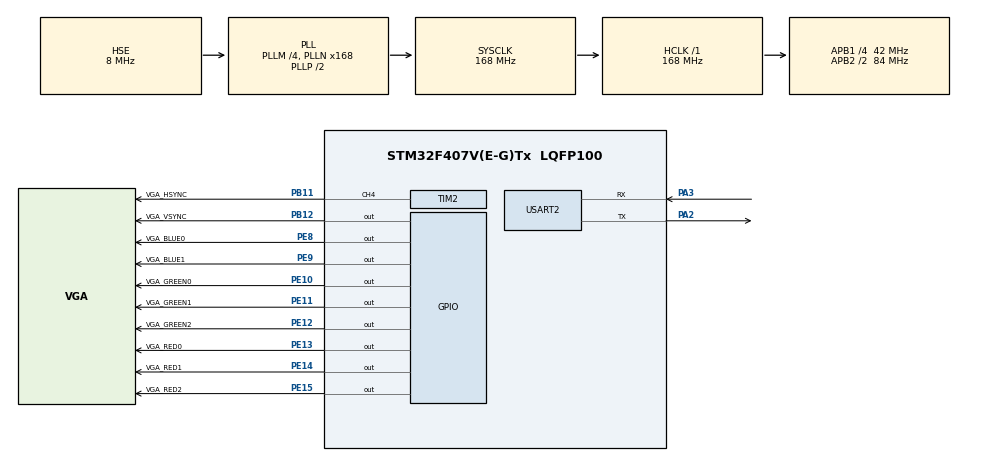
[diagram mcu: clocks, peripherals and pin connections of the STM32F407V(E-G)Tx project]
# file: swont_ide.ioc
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Dma.Request0=TIM1_UP
Dma.TIM1_UP.0.Direction=DMA_MEMORY_TO_PERIPH
Dma.TIM1_UP.0.FIFOMode=DMA_FIFOMODE_DISABLE
Dma.TIM1_UP.0.Instance=DMA2_Stream5
Dma.TIM1_UP.0.MemDataAlignment=DMA_MDATAALIGN_BYTE
Dma.TIM1_UP.0.MemInc=DMA_MINC_ENABLE
Dma.TIM1_UP.0.Mode=DMA_NORMAL
Dma.TIM1_UP.0.PeriphDataAlignment=DMA_PDATAALIGN_BYTE
Dma.TIM1_UP.0.PeriphInc=DMA_PINC_DISABLE
Dma.TIM1_UP.0.Priority=DMA_PRIORITY_VERY_HIGH
Mcu.Family=STM32F4
Mcu.Name=STM32F407V(E-G)Tx
Mcu.Package=LQFP100
NVIC.DMA2_Stream5_IRQn=true\:0\:0\:false\:false\:true\:false\:true
NVIC.PriorityGroup=NVIC_PRIORITYGROUP_4
NVIC.TIM2_IRQn=true\:0\:0\:true\:false\:true\:true\:true
NVIC.USART2_IRQn=true\:0\:0\:false\:false\:true\:true\:true
PA13.Mode=Serial_Wire
PA13.Signal=SYS_JTMS-SWDIO
PA14.Mode=Serial_Wire
PA14.Signal=SYS_JTCK-SWCLK
PA2.Mode=Asynchronous
PA2.Signal=USART2_TX
PA3.Mode=Asynchronous
PA3.Signal=USART2_RX
PB11.GPIO_Label=VGA_HSYNC
PB11.GPIO_Speed=GPIO_SPEED_FREQ_VERY_HIGH
PB11.Signal=S_TIM2_CH4
PB12.GPIO_Label=VGA_VSYNC
PB12.GPIO_PuPd=GPIO_NOPULL
PB12.GPIO_Speed=GPIO_SPEED_FREQ_VERY_HIGH
PB12.Signal=GPIO_Output
PE10.GPIO_Label=VGA_GREEN0
PE10.GPIO_PuPd=GPIO_NOPULL
PE10.GPIO_Speed=GPIO_SPEED_FREQ_VERY_HIGH
PE10.Signal=GPIO_Output
PE11.GPIO_Label=VGA_GREEN1
PE11.GPIO_PuPd=GPIO_NOPULL
PE11.GPIO_Speed=GPIO_SPEED_FREQ_VERY_HIGH
PE11.Signal=GPIO_Output
PE12.GPIO_Label=VGA_GREEN2
PE12.GPIO_PuPd=GPIO_NOPULL
PE12.GPIO_Speed=GPIO_SPEED_FREQ_VERY_HIGH
PE12.Signal=GPIO_Output
PE13.GPIO_Label=VGA_RED0
PE13.GPIO_PuPd=GPIO_NOPULL
PE13.GPIO_Speed=GPIO_SPEED_FREQ_VERY_HIGH
PE13.Signal=GPIO_Output
PE14.GPIO_Label=VGA_RED1
PE14.GPIO_PuPd=GPIO_NOPULL
PE14.GPIO_Speed=GPIO_SPEED_FREQ_VERY_HIGH
PE14.Signal=GPIO_Output
PE15.GPIO_Label=VGA_RED2
PE15.GPIO_PuPd=GPIO_NOPULL
PE15.GPIO_Speed=GPIO_SPEED_FREQ_VERY_HIGH
PE15.Signal=GPIO_Output
PE8.GPIO_Label=VGA_BLUE0
PE8.GPIO_PuPd=GPIO_NOPULL
PE8.GPIO_Speed=GPIO_SPEED_FREQ_VERY_HIGH
PE8.Signal=GPIO_Output
PE9.GPIO_Label=VGA_BLUE1
PE9.GPIO_PuPd=GPIO_NOPULL
PE9.GPIO_Speed=GPIO_SPEED_FREQ_VERY_HIGH
PE9.Signal=GPIO_Output
PH0-OSC_IN.Mode=HSE-External-Oscillator
PH0-OSC_IN.Signal=RCC_OSC_IN
PH1-OSC_OUT.Mode=HSE-External-Oscillator
PH1-OSC_OUT.Signal=RCC_OSC_OUT
ProjectManager.HeapSize=0x200
ProjectManager.StackSize=0x400
ProjectManager.TargetToolchain=STM32CubeIDE
RCC.48MHZClocksFreq_Value=84000000
RCC.AHBFreq_Value=168000000
RCC.APB1CLKDivider=RCC_HCLK_DIV4
RCC.APB1Freq_Value=42000000
RCC.APB1TimFreq_Value=84000000
RCC.APB2CLKDivider=RCC_HCLK_DIV2
RCC.APB2Freq_Value=84000000
RCC.APB2TimFreq_Value=168000000
RCC.CortexFreq_Value=168000000
RCC.HCLKFreq_Value=168000000
RCC.HSE_VALUE=8000000
RCC.HSI_VALUE=16000000
RCC.LSE_VALUE=32768
RCC.PLLM=4
RCC.PLLN=168
RCC.PLLSourceVirtual=RCC_PLLSOURCE_HSE
RCC.SYSCLKFreq_VALUE=168000000
RCC.SYSCLKSource=RCC_SYSCLKSOURCE_PLLCLK
RCC.VCOOutputFreq_Value=336000000
SH.S_TIM2_CH4.0=TIM2_CH4,PWM Generation4 CH4
TIM1.Period=VGA_TIM1_PERIODE
TIM1.Prescaler=VGA_TIM1_PRESCALE
TIM2.AutoReloadPreload=TIM_AUTORELOAD_PRELOAD_DISABLE
TIM2.Channel-PWM\ Generation3\ No\ Output=TIM_CHANNEL_3
TIM2.Channel-PWM\ Generation4\ CH4=TIM_CHANNEL_4
TIM2.OCPolarity_3=TIM_OCPOLARITY_LOW
TIM2.OCPolarity_4=TIM_OCPOLARITY_LOW
TIM2.Period=VGA_TIM2_HSYNC_PERIODE
TIM2.Prescaler=VGA_TIM2_HSYNC_PRESCALE
TIM2.Pulse-PWM\ Generation3\ No\ Output=VGA_TIM2_HTRIGGER_START - VGA_TIM2_DMA_DELAY
TIM2.Pulse-PWM\ Generation4\ CH4=VGA_TIM2_HSYNC_IMP
USART2.VirtualMode=VM_ASYNC
VP_TIM1_VS_ClockSourceINT.Mode=Internal
VP_TIM2_VS_no_output3.Mode=PWM Generation3 No Output
board=custom

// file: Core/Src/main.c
/* USER CODE BEGIN Header */
/**
  ******************************************************************************
  * @file           : main.c
  * @brief          : Main program body
  ******************************************************************************
  * @attention
  *
  * <h2><center>&copy; Copyright (c) 2020 STMicroelectronics.
  * All rights reserved.</center></h2>
  *
  * This software component is licensed by ST under BSD 3-Clause license,
  * the "License"; You may not use this file except in compliance with the
  * License. You may obtain a copy of the License at:
  *                        opensource.org/licenses/BSD-3-Clause
  *
  ******************************************************************************
  */
/* USER CODE END Header */
#include "main.h"
#include "dma.h"
#include "tim.h"
#include "usart.h"
#include "gpio.h"

/* USER CODE BEGIN Includes */
#include "EE-APi.h"
/* USER CODE END Includes */

/* USER CODE BEGIN PV */
input_vars input;

volatile char container[1024];
volatile int temp;
volatile int key;

/* USER CODE END PV */

void SystemClock_Config(void);

int main(void)
{

  /* MCU Configuration--------------------------------------------------------*/

  /* Reset of all peripherals, Initializes the Flash interface and the Systick. */
  HAL_Init();

  /* Configure the system clock */
  SystemClock_Config();

  /* Initialize all configured peripherals */
  MX_GPIO_Init();
  MX_DMA_Init();
  MX_TIM1_Init();
  MX_TIM2_Init();
  MX_USART2_UART_Init();
  /* USER CODE BEGIN 2 */

  UB_VGA_Screen_Init(); // Init VGA-Screen

  UB_VGA_FillScreen(VGA_COL_WHITE);

  int i;

  for(i = 0; i < LINE_BUFLEN; i++)
	  input.line_rx_buffer[i] = 0;

  // Reset some stuff
  input.byte_buffer_rx[0] = 0;
  input.char_counter = 0;
  input.command_execute_flag = FALSE;

  // HAl wants a memory location to store the charachter it receives from the UART
  // We will pass it an array, but we will not use it. We declare our own variable in the interupt handler
  // See stm32f4xx_it.c
  HAL_UART_Receive_IT(&huart2, input.byte_buffer_rx, BYTE_BUFLEN);

  // Test to see if the screen reacts to UART
  unsigned char colorTest = TRUE;
  unsigned int j =0;
  API_draw_line(0, 0, 310, 240, 2, VGA_COL_RED);
  /* USER CODE END 2 */

  /* Infinite loop */
  /* USER CODE BEGIN WHILE */
  while (1)
  {
	  if(input.command_execute_flag == TRUE)
	  {
		  // Do some stuff
		  printf("yes\n");
		  switch (j++)
		  {
		  case 0:
		  {
			  colorTest=VGA_COL_BLACK;
			  break;
		  }

		  case 1: colorTest=VGA_COL_BLUE; break;

		  case 2: colorTest=VGA_COL_GREEN; break;

		  case 3: colorTest=VGA_COL_RED; break;

		  case 4: colorTest=VGA_COL_WHITE; break;

		  case 5: colorTest=VGA_COL_CYAN; break;

		  case 6: colorTest=VGA_COL_MAGENTA; break;

		  case 7: colorTest=VGA_COL_YELLOW; break;

		  }
		  API_draw_line(21, 2, 102, 110, 10, colorTest);
		  if (j==7) j = 0;

		  // When finished reset the flag
		  input.command_execute_flag = FALSE;
	  }
    /* USER CODE END WHILE */

  }
}

void SystemClock_Config(void)
{
  RCC_OscInitTypeDef RCC_OscInitStruct = {0};
  RCC_ClkInitTypeDef RCC_ClkInitStruct = {0};

  /** Configure the main internal regulator output voltage
  */
  __HAL_RCC_PWR_CLK_ENABLE();
  __HAL_PWR_VOLTAGESCALING_CONFIG(PWR_REGULATOR_VOLTAGE_SCALE1);
  /** Initializes the RCC Oscillators according to the specified parameters
  * in the RCC_OscInitTypeDef structure.
  */
  RCC_OscInitStruct.OscillatorType = RCC_OSCILLATORTYPE_HSE;
  RCC_OscInitStruct.HSEState = RCC_HSE_ON;
  RCC_OscInitStruct.PLL.PLLState = RCC_PLL_ON;
  RCC_OscInitStruct.PLL.PLLSource = RCC_PLLSOURCE_HSE;
  RCC_OscInitStruct.PLL.PLLM = 4;
  RCC_OscInitStruct.PLL.PLLN = 168;
  RCC_OscInitStruct.PLL.PLLP = RCC_PLLP_DIV2;
  RCC_OscInitStruct.PLL.PLLQ = 4;
  if (HAL_RCC_OscConfig(&RCC_OscInitStruct) != HAL_OK)
  {
    Error_Handler();
  }
  /** Initializes the CPU, AHB and APB buses clocks
  */
  RCC_ClkInitStruct.ClockType = RCC_CLOCKTYPE_HCLK|RCC_CLOCKTYPE_SYSCLK
                              |RCC_CLOCKTYPE_PCLK1|RCC_CLOCKTYPE_PCLK2;
  RCC_ClkInitStruct.SYSCLKSource = RCC_SYSCLKSOURCE_PLLCLK;
  RCC_ClkInitStruct.AHBCLKDivider = RCC_SYSCLK_DIV1;
  RCC_ClkInitStruct.APB1CLKDivider = RCC_HCLK_DIV4;
  RCC_ClkInitStruct.APB2CLKDivider = RCC_HCLK_DIV2;

  if (HAL_RCC_ClockConfig(&RCC_ClkInitStruct, FLASH_LATENCY_5) != HAL_OK)
  {
    Error_Handler();
  }
}

/* USER CODE BEGIN 4 */

#ifdef __GNUC__
	#define USART_PRINTF int __io_putchar(int ch)		//With GCC/RAISONANCE printf calls __io_putchar()
#else
	#define USART_PRINTF int fputc(int ch, FILE *f)		//With other compiler printf calls fputc()
#endif /* __GNUC__ */

//Retargets the C library printf function to the USART
USART_PRINTF
{
	HAL_UART_Transmit(&huart2, (uint8_t *)&ch, 1, 0xFFFF);	//Write character to UART2
	return ch;												//Return the character
}

/* USER CODE END 4 */

void Error_Handler(void)
{
}

/************************ (C) COPYRIGHT STMicroelectronics *****END OF FILE****/
